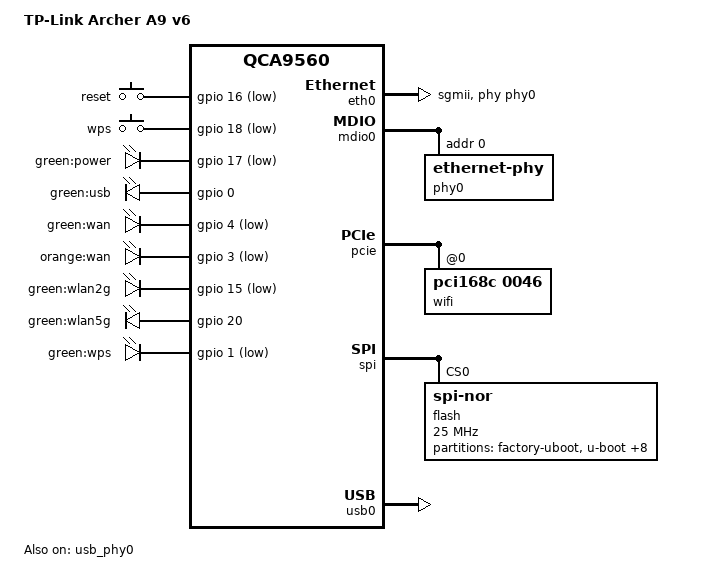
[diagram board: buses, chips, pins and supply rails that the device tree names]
// SPDX-License-Identifier: GPL-2.0-or-later OR MIT

#include "qca956x.dtsi"

#include <dt-bindings/gpio/gpio.h>
#include <dt-bindings/input/input.h>

/ {
	model = "TP-Link Archer A9 v6";
	compatible = "tplink,archer-a9-v6", "qca,qcn5500", "qca,qca9560";

	aliases {
		label-mac-device = &eth0;
		led-boot = &led_power;
		led-failsafe = &led_power;
		led-running = &led_power;
		led-upgrade = &led_power;
	};

	keys {
		compatible = "gpio-keys";

		reset {
			label = "reset";
			linux,code = <KEY_RESTART>;
			gpios = <&gpio 16 GPIO_ACTIVE_LOW>;
			debounce-interval = <60>;
		};

		wps {
			label = "wps";
			linux,code = <KEY_WPS_BUTTON>;
			gpios = <&gpio 18 GPIO_ACTIVE_LOW>;
			debounce-interval = <60>;
		};
	};

	leds {
		compatible = "gpio-leds";

		led_power: power {
			label = "green:power";
			gpios = <&gpio 17 GPIO_ACTIVE_LOW>;
			default-state = "on";
		};

		usb {
			label = "green:usb";
			gpios = <&gpio 0 GPIO_ACTIVE_HIGH>;
			trigger-sources = <&hub_port0>;
			linux,default-trigger = "usbport";
		};

		wan {
			label = "green:wan";
			gpios = <&gpio 4 GPIO_ACTIVE_LOW>;
		};

		wan_orange {
			label = "orange:wan";
			gpios = <&gpio 3 GPIO_ACTIVE_LOW>;
		};

		wlan2g {
			label = "green:wlan2g";
			gpios = <&gpio 15 GPIO_ACTIVE_LOW>;
			linux,default-trigger = "phy1tpt";
		};

		wlan5g {
			label = "green:wlan5g";
			gpios = <&gpio 20 GPIO_ACTIVE_HIGH>;
			linux,default-trigger = "phy0tpt";
		};

		wps {
			label = "green:wps";
			gpios = <&gpio 1 GPIO_ACTIVE_LOW>;
		};
	};
};

&eth0 {
	status = "okay";

	pll-data = <0x03000101 0x00000101 0x00001919>;

	phy-mode = "sgmii";
	phy-handle = <&phy0>;

	nvmem-cells = <&macaddr_info_8>;
	nvmem-cell-names = "mac-address";
};

&mdio0 {
	status = "okay";

	phy-mask = <0>;

	phy0: ethernet-phy@0 {
		reg = <0>;
		phy-mode = "sgmii";
		qca,mib-poll-interval = <500>;

		qca,ar8327-initvals = <
			0x04 0x80080080 /* PORT0 PAD MODE CTRL */
			0x08 0x00000000 /* PORT5 PAD MODE CTRL */
			0x0c 0x00000000 /* PORT6 PAD MODE CTRL */
			0x10 0x00000080 /* POWER_ON_STRAP */
			0x7c 0x0000007e /* PORT0_STATUS */
			0x94 0x00000200 /* PORT6_STATUS */
			>;
	};
};

&pcie {
	status = "okay";

	wifi@0,0 {
		compatible = "pci168c,0046";
		reg = <0 0 0 0 0>;

		nvmem-cells = <&macaddr_info_8>, <&precal_art_5000>;
		nvmem-cell-names = "mac-address", "pre-calibration";

		mac-address-increment = <(-1)>;
	};
};

&spi {
	status = "okay";

	flash@0 {
		compatible = "jedec,spi-nor";
		reg = <0>;
		spi-max-frequency = <25000000>;
		m25p,fast-read;

		mtdparts: partitions {
			compatible = "fixed-partitions";
			#address-cells = <1>;
			#size-cells = <1>;

			partition@0 {
				label = "factory-uboot";
				reg = <0x000000 0x020000>;
				read-only;
			};

			partition@20000 {
				label = "u-boot";
				reg = <0x020000 0x020000>;
				read-only;
			};

			partition@40000 {
				label = "partition-table";
				reg = <0x040000 0x010000>;
				read-only;
			};

			partition@50000 {
				label = "art";
				reg = <0x050000 0x010000>;
				read-only;

				compatible = "nvmem-cells";
				#address-cells = <1>;
				#size-cells = <1>;

				cal_art_1000: cal@1000 {
					reg = <0x1000 0x440>;
				};

				precal_art_5000: precal@5000 {
					reg = <0x5000 0x2f20>;
				};
			};

			partition@60000 {
				label = "info";
				reg = <0x060000 0x020000>;
				read-only;

				compatible = "nvmem-cells";
				#address-cells = <1>;
				#size-cells = <1>;

				macaddr_info_8: macaddr@8 {
					reg = <0x8 0x6>;
				};
			};

			partition@80000 {
				label = "user-config";
				reg = <0x080000 0x040000>;
				read-only;
			};

			partition@c0000 {
				compatible = "denx,uimage";
				label = "firmware";
				reg = <0x0c0000 0xf00000>;
			};

			partition@fc0000 {
				label = "log";
				reg = <0xfc0000 0x020000>;
				read-only;
			};

			partition@fe0000 {
				label = "certificate";
				reg = <0xfe0000 0x010000>;
				read-only;
			};

			partition@ff0000 {
				label = "default-config";
				reg = <0xff0000 0x010000>;
				read-only;
			};
		};
	};
};

&usb_phy0 {
	status = "okay";
};

&usb0 {
	#address-cells = <1>;
	#size-cells = <0>;
	status = "okay";

	hub_port0: port@1 {
		reg = <1>;
		#trigger-source-cells = <0>;
	};
};

&wmac {
	/* TODO: missing support in ath9k */
	status = "disabled";

	nvmem-cells = <&cal_art_1000>, <&macaddr_info_8>;
	nvmem-cell-names = "calibration", "mac-address";
};
